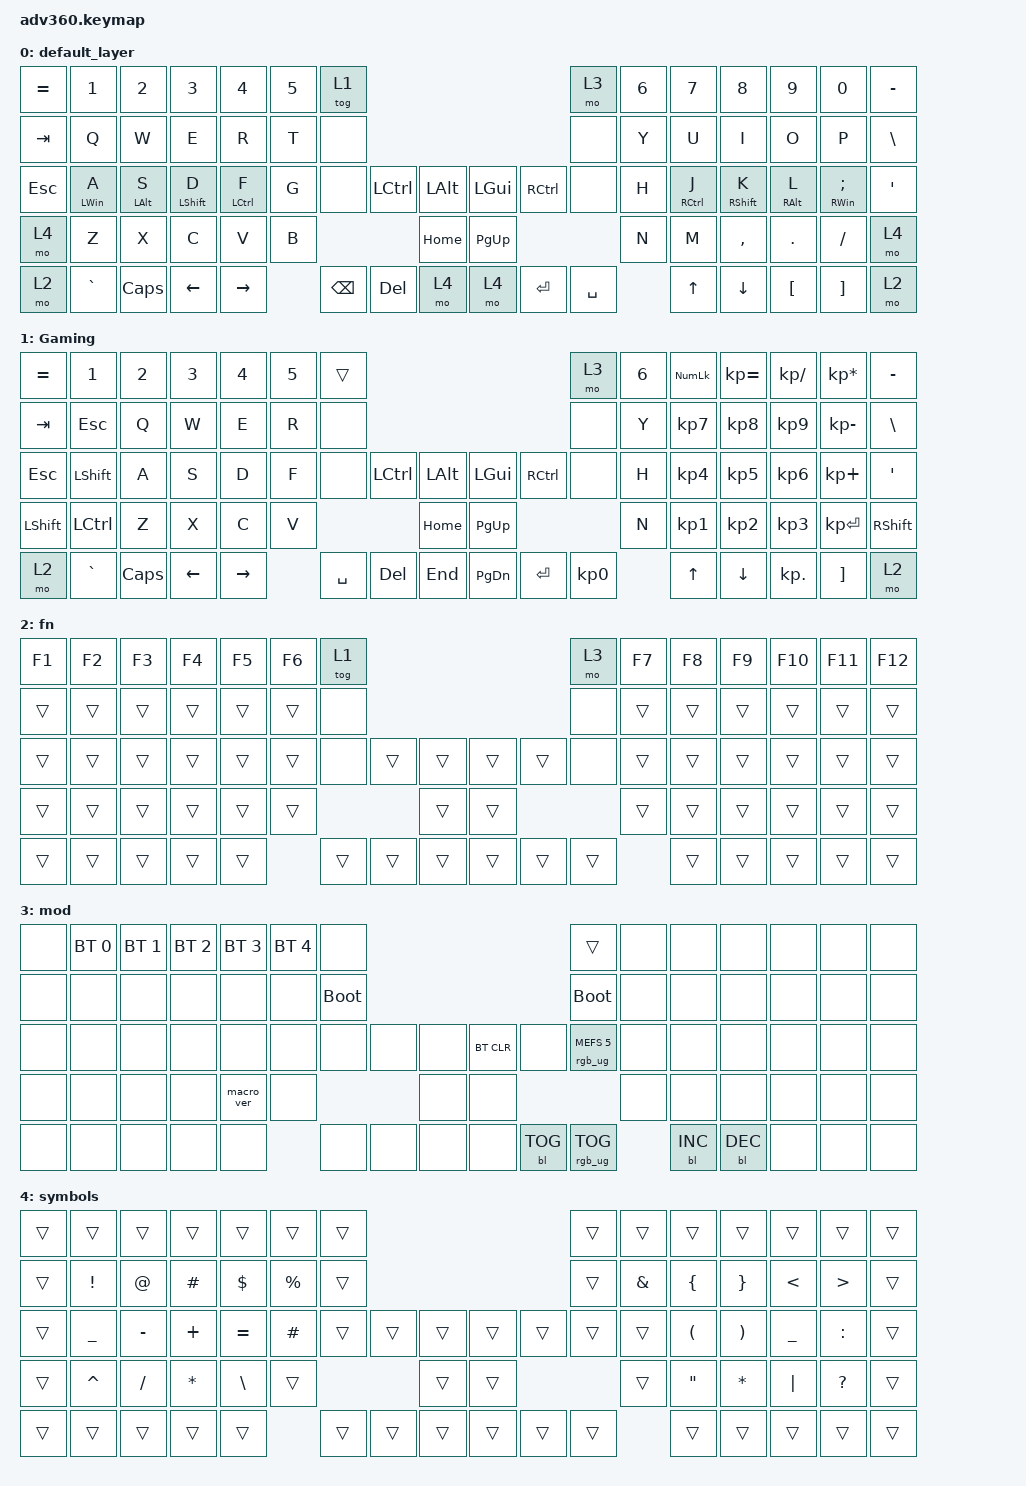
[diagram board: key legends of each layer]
#include <behaviors.dtsi>
#include <dt-bindings/zmk/backlight.h>
#include <dt-bindings/zmk/bt.h>
#include <dt-bindings/zmk/keys.h>
#include <dt-bindings/zmk/rgb.h>

/ {
    behaviors {
        #include "macros.dtsi"
      #include "version.dtsi"
      #ifndef VERSION_MACRO

        macro_ver: macro_ver {
            compatible = "zmk,behavior-macro";
            label = "macro_version";
            #binding-cells = <0>;
            bindings = <&kp RET>;
        };

        #endif

        hm: homerow_mods {
            compatible = "zmk,behavior-hold-tap";
            label = "HOMEROW_MODS";
            #binding-cells = <2>;
            tapping-term-ms = <220>;
            quick_tap_ms = <175>;
            flavor = "tap-preferred";
            bindings = <&kp>, <&kp>;

            hold-trigger-key-positions = <29 30 32 31 41 42 43 44>;
            hold-trigger-on-release;
        };
    };

    macros {
    };

    keymap {
        compatible = "zmk,keymap";

        default_layer {
            bindings = <
&kp EQUAL  &kp N1          &kp N2          &kp N3            &kp N4       &kp N5  &tog 1                                                   &mo 3      &kp N6  &kp N7       &kp N8             &kp N9           &kp N0              &kp MINUS
&kp TAB    &kp Q           &kp W           &kp E             &kp R        &kp T   &none                                                    &none      &kp Y   &kp U        &kp I              &kp O            &kp P               &kp BSLH
&kp ESC    &hm LEFT_WIN A  &hm LEFT_ALT S  &hm LEFT_SHIFT D  &hm LCTRL F  &kp G   &none     &kp LCTRL  &kp LALT      &kp LGUI   &kp RCTRL  &none      &kp H   &hm RCTRL J  &hm RIGHT_SHIFT K  &hm RIGHT_ALT L  &hm RIGHT_WIN SEMI  &kp SQT
&mo 4      &kp Z           &kp X           &kp C             &kp V        &kp B                        &kp HOME      &kp PG_UP                        &kp N   &kp M        &kp COMMA          &kp DOT          &kp FSLH            &mo 4
&mo 2      &kp GRAVE       &kp CAPS        &kp LEFT          &kp RIGHT            &kp BSPC  &kp DEL    &mo 4         &mo 4      &kp ENTER  &kp SPACE          &kp UP       &kp DOWN           &kp LBKT         &kp RBKT            &mo 2
            >;
        };

        Gaming {
            bindings = <
&kp EQUAL  &kp N1      &kp N2    &kp N3    &kp N4     &kp N5  &trans                                                    &mo 3      &kp N6  &kp KP_NUM  &kp KP_EQUAL  &kp KP_DIVIDE  &kp KP_MULTIPLY  &kp MINUS
&kp TAB    &kp ESC     &kp Q     &kp W     &kp E      &kp R   &none                                                     &none      &kp Y   &kp KP_N7   &kp KP_N8     &kp KP_N9      &kp KP_MINUS     &kp BSLH
&kp ESC    &kp LSHIFT  &kp A     &kp S     &kp D      &kp F   &none      &kp LCTRL  &kp LALT      &kp LGUI   &kp RCTRL  &none      &kp H   &kp KP_N4   &kp KP_N5     &kp KP_N6      &kp KP_PLUS      &kp SQT
&kp LSHFT  &kp LCTRL   &kp Z     &kp X     &kp C      &kp V                         &kp HOME      &kp PG_UP                        &kp N   &kp KP_N1   &kp KP_N2     &kp KP_N3      &kp KP_ENTER     &kp RSHFT
&mo 2      &kp GRAVE   &kp CAPS  &kp LEFT  &kp RIGHT          &kp SPACE  &kp DEL    &kp END       &kp PG_DN  &kp ENTER  &kp KP_N0          &kp UP      &kp DOWN      &kp KP_DOT     &kp RBKT         &mo 2
            >;
        };

        fn {
            bindings = <
&kp F1  &kp F2  &kp F3  &kp F4  &kp F5  &kp F6  &tog 1                                      &mo 3   &kp F7  &kp F8  &kp F9  &kp F10  &kp F11  &kp F12
&trans  &trans  &trans  &trans  &trans  &trans  &none                                       &none   &trans  &trans  &trans  &trans   &trans   &trans
&trans  &trans  &trans  &trans  &trans  &trans  &none   &trans  &trans      &trans  &trans  &none   &trans  &trans  &trans  &trans   &trans   &trans
&trans  &trans  &trans  &trans  &trans  &trans                  &trans      &trans                  &trans  &trans  &trans  &trans   &trans   &trans
&trans  &trans  &trans  &trans  &trans          &trans  &trans  &trans      &trans  &trans  &trans          &trans  &trans  &trans   &trans   &trans
            >;
        };

        mod {
            bindings = <
&none  &bt BT_SEL 0  &bt BT_SEL 1  &bt BT_SEL 2  &bt BT_SEL 3  &bt BT_SEL 4  &none                                                  &trans                  &none  &none       &none       &none  &none  &none
&none  &none         &none         &none         &none         &none         &bootloader                                            &bootloader             &none  &none       &none       &none  &none  &none
&none  &none         &none         &none         &none         &none         &none        &none  &none      &bt BT_CLR  &none       &rgb_ug RGB_MEFS_CMD 5  &none  &none       &none       &none  &none  &none
&none  &none         &none         &none         &macro_ver    &none                             &none      &none                                           &none  &none       &none       &none  &none  &none
&none  &none         &none         &none         &none                       &none        &none  &none      &none       &bl BL_TOG  &rgb_ug RGB_TOG                &bl BL_INC  &bl BL_DEC  &none  &none  &none
            >;
        };

        symbols {
            bindings = <
&trans  &trans     &trans     &trans    &trans     &trans     &trans                                      &trans  &trans    &trans    &trans     &trans     &trans     &trans
&trans  &kp EXCL   &kp AT     &kp HASH  &kp DLLR   &kp PRCNT  &trans                                      &trans  &kp AMPS  &kp LBRC  &kp RBRC   &kp LT     &kp GT     &trans
&trans  &kp UNDER  &kp MINUS  &kp PLUS  &kp EQUAL  &kp HASH   &trans  &trans  &trans      &trans  &trans  &trans  &trans    &kp LPAR  &kp RPAR   &kp UNDER  &kp COLON  &trans
&trans  &kp CARET  &kp FSLH   &kp STAR  &kp BSLH   &trans                     &trans      &trans                  &trans    &kp DQT   &kp ASTRK  &kp PIPE   &kp QMARK  &trans
&trans  &trans     &trans     &trans    &trans                &trans  &trans  &trans      &trans  &trans  &trans            &trans    &trans     &trans     &trans     &trans
            >;
        };
    };
};
